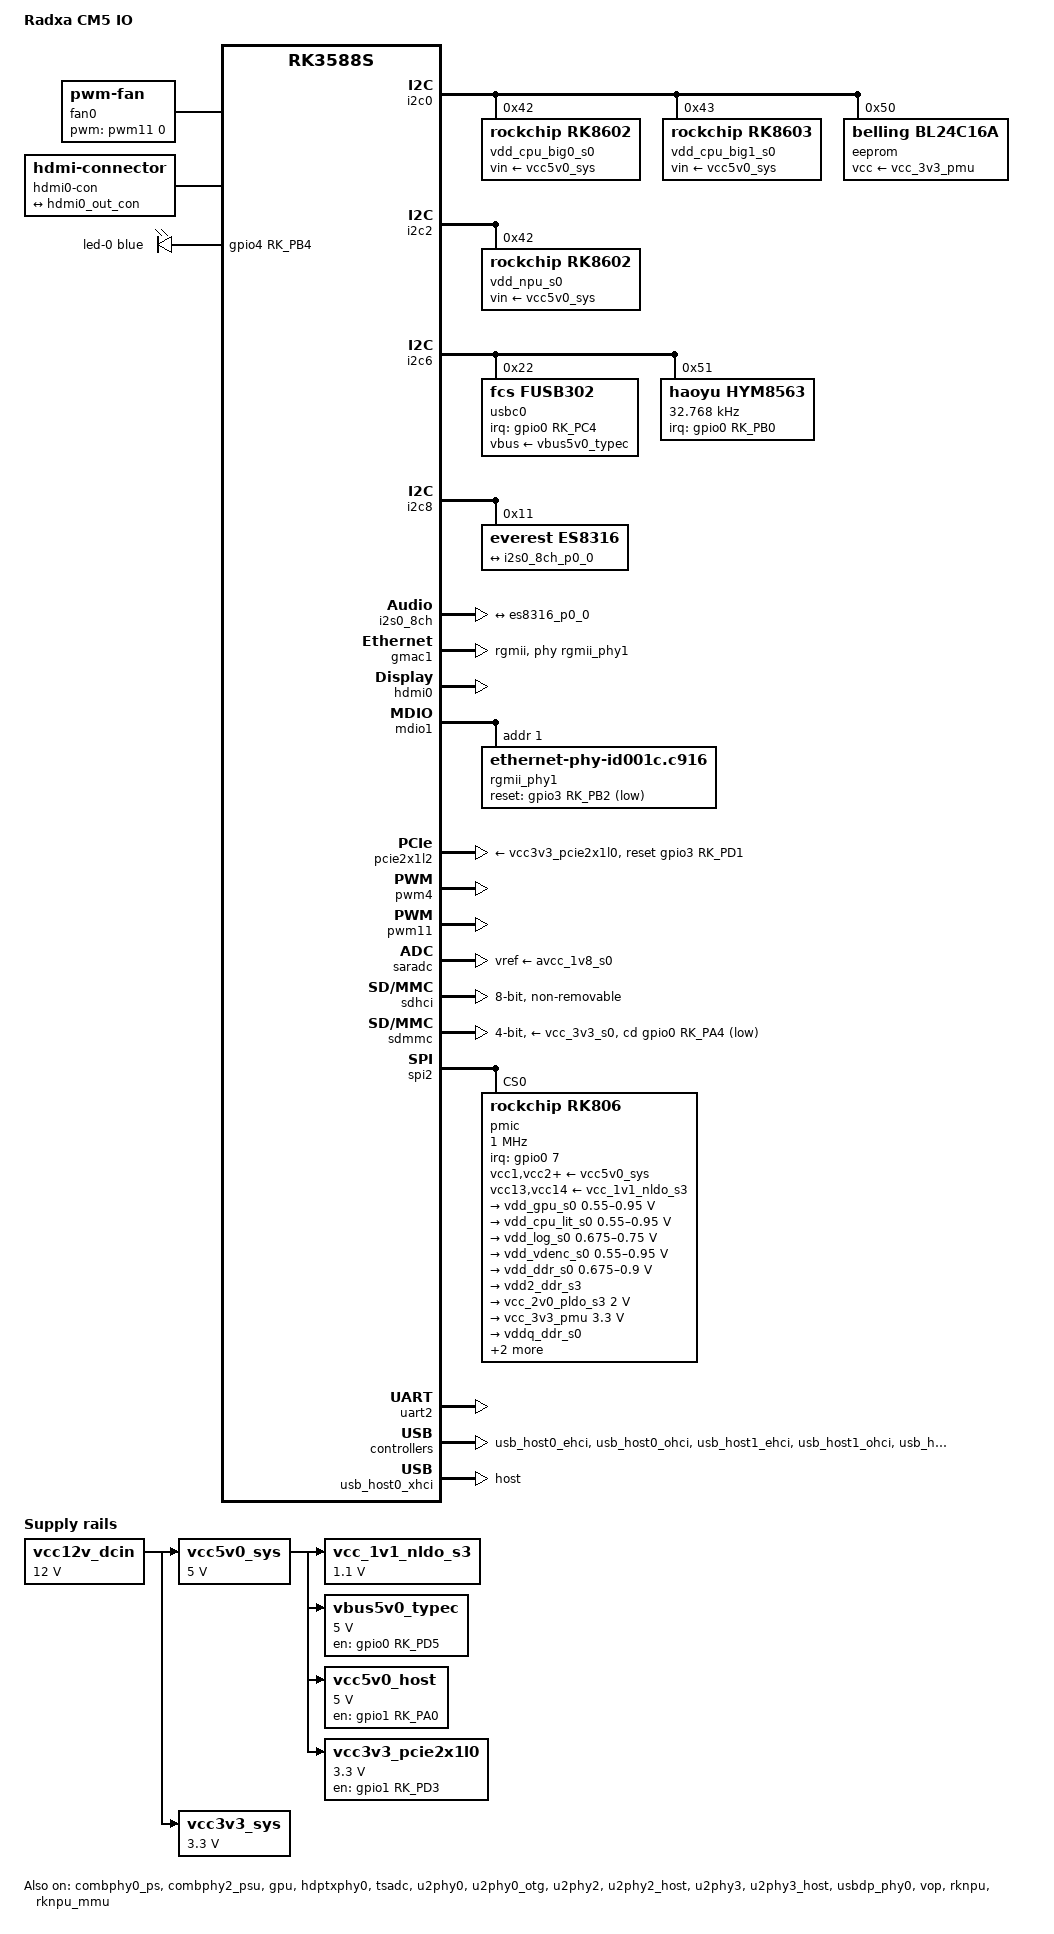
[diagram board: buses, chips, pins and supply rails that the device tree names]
// SPDX-License-Identifier: (GPL-2.0+ OR MIT)
/*
 * Copyright (c) 2024 Rockchip Electronics Co., Ltd.
 * Copyright (c) 2024 Radxa Computer (Shenzhen) Co., Ltd.
 */

/dts-v1/;

#include <dt-bindings/gpio/gpio.h>
#include <dt-bindings/leds/common.h>
#include <dt-bindings/pinctrl/rockchip.h>
#include <dt-bindings/soc/rockchip,vop2.h>
#include <dt-bindings/usb/pd.h>
#include "rk3588s.dtsi"

/ {
	model = "Radxa CM5 IO";
	compatible = "radxa,cm5-io", "radxa,cm5", "rockchip,rk3588s";

	aliases {
		ethernet0 = &gmac1;
		mmc0 = &sdhci;
		mmc1 = &sdmmc;
	};

	chosen {
		stdout-path = "serial2:1500000n8";
	};

	analog-sound {
		compatible = "audio-graph-card";
		label = "rk3588-es8316";

		widgets = "Microphone", "Mic Jack",
			  "Headphone", "Headphones";

		routing = "MIC2", "Mic Jack",
			  "Headphones", "HPOL",
			  "Headphones", "HPOR";

		dais = <&i2s0_8ch_p0>;
	};

	fan0: pwm-fan {
		compatible = "pwm-fan";
		#cooling-cells = <2>;
		cooling-levels = <0 64 128 192 255>;
		pwms = <&pwm11 0 60000 0>;
	};

	hdmi0-con {
		compatible = "hdmi-connector";
		type = "a";

		port {
			hdmi0_con_in: endpoint {
				remote-endpoint = <&hdmi0_out_con>;
			};
		};
	};

	leds {
		compatible = "gpio-leds";
		pinctrl-names = "default";
		pinctrl-0 = <&status_led>;

		led-0 {
			color = <LED_COLOR_ID_BLUE>;
			function = LED_FUNCTION_STATUS;
			gpios = <&gpio4 RK_PB4 GPIO_ACTIVE_HIGH>;
			linux,default-trigger = "heartbeat";
		};
	};

	vcc12v_dcin: regulator-vcc12v-dcin {
		compatible = "regulator-fixed";
		regulator-name = "vcc12v_dcin";
		regulator-always-on;
		regulator-boot-on;
		regulator-min-microvolt = <12000000>;
		regulator-max-microvolt = <12000000>;
	};

	vcc5v0_sys: regulator-vcc5v0-sys {
		compatible = "regulator-fixed";
		regulator-name = "vcc5v0_sys";
		regulator-always-on;
		regulator-boot-on;
		regulator-min-microvolt = <5000000>;
		regulator-max-microvolt = <5000000>;
		vin-supply = <&vcc12v_dcin>;
	};

	vcc3v3_sys: regulator-vcc3v3-sys {
		compatible = "regulator-fixed";
		regulator-name = "vcc3v3_sys";
		regulator-always-on;
		regulator-boot-on;
		regulator-min-microvolt = <3300000>;
		regulator-max-microvolt = <3300000>;
		vin-supply = <&vcc12v_dcin>;
	};

	vcc_1v1_nldo_s3: regulator-vcc-1v1-nldo-s3 {
		compatible = "regulator-fixed";
		regulator-name = "vcc_1v1_nldo_s3";
		regulator-always-on;
		regulator-boot-on;
		regulator-min-microvolt = <1100000>;
		regulator-max-microvolt = <1100000>;
		vin-supply = <&vcc5v0_sys>;
	};

	vbus5v0_typec: regulator-vbus5v0-typec {
		compatible = "regulator-fixed";
		regulator-name = "vbus5v0_typec";
		enable-active-high;
		gpio = <&gpio0 RK_PD5 GPIO_ACTIVE_HIGH>;
		pinctrl-names = "default";
		pinctrl-0 = <&vbus5v0_typec_en>;
		regulator-min-microvolt = <5000000>;
		regulator-max-microvolt = <5000000>;
		vin-supply = <&vcc5v0_sys>;
	};

	vcc5v0_host: regulator-vcc5v0-host {
		compatible = "regulator-fixed";
		regulator-name = "vcc5v0_host";
		regulator-boot-on;
		regulator-always-on;
		regulator-min-microvolt = <5000000>;
		regulator-max-microvolt = <5000000>;
		enable-active-high;
		gpio = <&gpio1 RK_PA0 GPIO_ACTIVE_HIGH>;
		pinctrl-names = "default";
		pinctrl-0 = <&vcc5v0_host_en>;
		vin-supply = <&vcc5v0_sys>;
	};

	vcc3v3_pcie2x1l0: regulator-vcc3v3-pcie2x1l0 {
		compatible = "regulator-fixed";
		regulator-name = "vcc3v3_pcie2x1l0";
		regulator-min-microvolt = <3300000>;
		regulator-max-microvolt = <3300000>;
		enable-active-high;
		regulator-boot-on;
		regulator-always-on;
		gpios = <&gpio1 RK_PD3 GPIO_ACTIVE_HIGH>;
		startup-delay-us = <50000>;
		vin-supply = <&vcc5v0_sys>;
	};

	rknpu: rknpu@fdab0000 {
		compatible = "rockchip,rk3588-rknpu";
		reg = <0x0 0xfdab0000 0x0 0x10000>,
		      <0x0 0xfdac0000 0x0 0x10000>,
		      <0x0 0xfdad0000 0x0 0x10000>;
		interrupts = <GIC_SPI 110 IRQ_TYPE_LEVEL_HIGH 0>,
			     <GIC_SPI 111 IRQ_TYPE_LEVEL_HIGH 0>,
			     <GIC_SPI 112 IRQ_TYPE_LEVEL_HIGH 0>;
		interrupt-names = "npu0_irq", "npu1_irq", "npu2_irq";
		clocks = <&scmi_clk SCMI_CLK_NPU>, <&cru ACLK_NPU0>,
			 <&cru ACLK_NPU1>, <&cru ACLK_NPU2>,
			 <&cru HCLK_NPU0>, <&cru HCLK_NPU1>,
			 <&cru HCLK_NPU2>, <&cru PCLK_NPU_ROOT>;
		clock-names = "clk_npu", "aclk0", "aclk1", "aclk2",
			      "hclk0", "hclk1", "hclk2", "pclk";
		assigned-clocks = <&scmi_clk SCMI_CLK_NPU>;
		assigned-clock-rates = <200000000>;
		resets = <&cru SRST_A_RKNN0>, <&cru SRST_A_RKNN1>,
			 <&cru SRST_A_RKNN2>, <&cru SRST_H_RKNN0>,
			 <&cru SRST_H_RKNN1>, <&cru SRST_H_RKNN2>;
		reset-names = "srst_a0", "srst_a1", "srst_a2",
			      "srst_h0", "srst_h1", "srst_h2";
		power-domains = <&power RK3588_PD_NPUTOP>,
				<&power RK3588_PD_NPU1>,
				<&power RK3588_PD_NPU2>;
		power-domain-names = "npu0", "npu1", "npu2";
		rknpu-supply = <&vdd_npu_s0>;
		iommus = <&rknpu_mmu>;
		status = "okay";
	};

	rknpu_mmu: rknpu-iommu@fdab9000 {
		compatible = "rockchip,rk3588-iommu", "rockchip,rk3568-iommu";
		reg = <0x0 0xfdab9000 0x0 0x100>,
		      <0x0 0xfdaba000 0x0 0x100>,
		      <0x0 0xfdaca000 0x0 0x100>,
		      <0x0 0xfdada000 0x0 0x100>;
		interrupts = <GIC_SPI 110 IRQ_TYPE_LEVEL_HIGH 0>,
			     <GIC_SPI 111 IRQ_TYPE_LEVEL_HIGH 0>,
			     <GIC_SPI 112 IRQ_TYPE_LEVEL_HIGH 0>;
		interrupt-names = "npu0_mmu", "npu1_mmu", "npu2_mmu";
		clocks = <&cru ACLK_NPU0>, <&cru ACLK_NPU1>,
			 <&cru ACLK_NPU2>, <&cru HCLK_NPU0>,
			 <&cru HCLK_NPU1>, <&cru HCLK_NPU2>;
		clock-names = "aclk", "aclk1", "aclk2",
			      "iface", "iface1", "iface2";
		#iommu-cells = <0>;
		power-domains = <&power RK3588_PD_NPUTOP>;
		status = "okay";
	};
};

&combphy0_ps {
	status = "okay";
};

&combphy2_psu {
	status = "okay";
};

&cpu_b0 {
	cpu-supply = <&vdd_cpu_big0_s0>;
};

&cpu_b1 {
	cpu-supply = <&vdd_cpu_big0_s0>;
};

&cpu_b2 {
	cpu-supply = <&vdd_cpu_big1_s0>;
};

&cpu_b3 {
	cpu-supply = <&vdd_cpu_big1_s0>;
};

&cpu_l0 {
	cpu-supply = <&vdd_cpu_lit_s0>;
};

&cpu_l1 {
	cpu-supply = <&vdd_cpu_lit_s0>;
};

&cpu_l2 {
	cpu-supply = <&vdd_cpu_lit_s0>;
};

&cpu_l3 {
	cpu-supply = <&vdd_cpu_lit_s0>;
};

&gpu {
	mali-supply = <&vdd_gpu_s0>;
	status = "okay";
};

&i2c0 {
	pinctrl-names = "default";
	pinctrl-0 = <&i2c0m2_xfer>;
	status = "okay";

	vdd_cpu_big0_s0: regulator@42 {
		compatible = "rockchip,rk8602";
		reg = <0x42>;
		fcs,suspend-voltage-selector = <1>;
		regulator-name = "vdd_cpu_big0_s0";
		regulator-always-on;
		regulator-boot-on;
		regulator-min-microvolt = <550000>;
		regulator-max-microvolt = <1050000>;
		regulator-ramp-delay = <2300>;
		vin-supply = <&vcc5v0_sys>;

		regulator-state-mem {
			regulator-off-in-suspend;
		};
	};

	vdd_cpu_big1_s0: regulator@43 {
		compatible = "rockchip,rk8603", "rockchip,rk8602";
		reg = <0x43>;
		fcs,suspend-voltage-selector = <1>;
		regulator-name = "vdd_cpu_big1_s0";
		regulator-always-on;
		regulator-boot-on;
		regulator-min-microvolt = <550000>;
		regulator-max-microvolt = <1050000>;
		regulator-ramp-delay = <2300>;
		vin-supply = <&vcc5v0_sys>;

		regulator-state-mem {
			regulator-off-in-suspend;
		};
	};

	eeprom: eeprom@50 {
		compatible = "belling,bl24c16a", "atmel,24c16";
		reg = <0x50>;
		pagesize = <16>;
		vcc-supply = <&vcc_3v3_pmu>;
	};
};

&i2c2 {
	status = "okay";

	vdd_npu_s0: regulator@42 {
		compatible = "rockchip,rk8602";
		reg = <0x42>;
		fcs,suspend-voltage-selector = <1>;
		regulator-name = "vdd_npu_s0";
		regulator-always-on;
		regulator-boot-on;
		regulator-min-microvolt = <550000>;
		regulator-max-microvolt = <950000>;
		regulator-ramp-delay = <2300>;
		vin-supply = <&vcc5v0_sys>;

		regulator-state-mem {
			regulator-off-in-suspend;
		};
	};
};

&i2c6 {
	status = "okay";
	pinctrl-names = "default";
	pinctrl-0 = <&i2c6m3_xfer>;

	usbc0: usb-typec@22 {
		compatible = "fcs,fusb302";
		reg = <0x22>;
		interrupt-parent = <&gpio0>;
		interrupts = <RK_PC4 IRQ_TYPE_LEVEL_LOW>;
		pinctrl-names = "default";
		pinctrl-0 = <&usbc0_int>;
		vbus-supply = <&vbus5v0_typec>;
		status = "okay";

		usb_con: connector {
			compatible = "usb-c-connector";
			label = "USB-C";
			data-role = "dual";
			power-role = "dual";
			try-power-role = "sink";
			op-sink-microwatt = <1000000>;

			sink-pdos = <PDO_FIXED(5000, 1000, PDO_FIXED_USB_COMM)>;
			source-pdos = <PDO_FIXED(5000, 3000, PDO_FIXED_USB_COMM)>;
		};
	};

	hym8563: rtc@51 {
		compatible = "haoyu,hym8563";
		reg = <0x51>;
		#clock-cells = <0>;
		clock-frequency = <32768>;
		clock-output-names = "hym8563";
		pinctrl-names = "default";
		pinctrl-0 = <&rtc_int>;
		interrupt-parent = <&gpio0>;
		interrupts = <RK_PB0 IRQ_TYPE_LEVEL_LOW>;
	};
};

&i2c8 {
	status = "okay";
	pinctrl-0 = <&i2c8m2_xfer>;

	es8316: audio-codec@11 {
		compatible = "everest,es8316";
		reg = <0x11>;
		clocks = <&cru I2S0_8CH_MCLKOUT>;
		clock-names = "mclk";
		assigned-clocks = <&cru I2S0_8CH_MCLKOUT>;
		assigned-clock-rates = <12288000>;
		#sound-dai-cells = <0>;

		port {
			es8316_p0_0: endpoint {
				remote-endpoint = <&i2s0_8ch_p0_0>;
			};
		};
	};
};

&i2s0_8ch {
	pinctrl-names = "default";
	pinctrl-0 = <&i2s0_lrck
		     &i2s0_mclk
		     &i2s0_sclk
		     &i2s0_sdi0
		     &i2s0_sdo0>;
	status = "okay";

	i2s0_8ch_p0: port {
		i2s0_8ch_p0_0: endpoint {
			dai-format = "i2s";
			mclk-fs = <256>;
			remote-endpoint = <&es8316_p0_0>;
		};
	};
};

&gmac1 {
	clock_in_out = "output";
	phy-handle = <&rgmii_phy1>;
	phy-mode = "rgmii";
	pinctrl-0 = <&gmac1_miim
		     &gmac1_tx_bus2
		     &gmac1_rx_bus2
		     &gmac1_rgmii_clk
		     &gmac1_rgmii_bus>;
	pinctrl-names = "default";
	tx_delay = <0x41>;
	rx_delay = <0x3a>;
	status = "okay";
};

&hdmi0 {
	pinctrl-names = "default";
	pinctrl-0 = <&hdmim0_tx0_cec
		     &hdmim1_tx0_hpd
		     &hdmim0_tx0_scl
		     &hdmim0_tx0_sda>;
	status = "okay";
};

&hdmi0_in {
	hdmi0_in_vp0: endpoint {
		remote-endpoint = <&vp0_out_hdmi0>;
	};
};

&hdmi0_out {
	hdmi0_out_con: endpoint {
		remote-endpoint = <&hdmi0_con_in>;
	};
};

&hdptxphy0 {
	status = "okay";
};

&mdio1 {
	rgmii_phy1: ethernet-phy@1 {
		compatible = "ethernet-phy-id001c.c916";
		reg = <0x1>;
		pinctrl-names = "default";
		pinctrl-0 = <&rtl8211f_rst>;
		reset-assert-us = <20000>;
		reset-deassert-us = <100000>;
		reset-gpios = <&gpio3 RK_PB2 GPIO_ACTIVE_LOW>;
	};
};

&pcie2x1l2 {
	reset-gpios = <&gpio3 RK_PD1 GPIO_ACTIVE_HIGH>;
	vpcie3v3-supply = <&vcc3v3_pcie2x1l0>;
	status = "okay";
};

&pd_gpu {
	domain-supply = <&vdd_gpu_s0>;
};

&pinctrl {
	headphone {
		hp_det: hp-det {
			rockchip,pins = <1 RK_PC0 RK_FUNC_GPIO &pcfg_pull_up>;
		};
	};

	leds {
		status_led: status-led {
			rockchip,pins = <4 RK_PB4 RK_FUNC_GPIO &pcfg_pull_none>;
		};
	};

	pcie {
		pcie2_reset: pcie2-reset {
			rockchip,pins = <3 RK_PD1 RK_FUNC_GPIO &pcfg_pull_none>;
		};
	};

	fusb302 {
		vbus5v0_typec_en: vbus5v0-typec-en {
			rockchip,pins = <0 RK_PD5 RK_FUNC_GPIO &pcfg_pull_none>;
		};

		usbc0_int: usbc0-int {
			rockchip,pins = <0 RK_PC4 RK_FUNC_GPIO &pcfg_pull_up>;
		};
	};

	hym8563 {
		rtc_int: rtc-int {
			rockchip,pins = <0 RK_PB0 RK_FUNC_GPIO &pcfg_pull_up>;
		};
	};

	rtl8211f {
		rtl8211f_rst: rtl8211f-rst {
			rockchip,pins = <3 RK_PB2 RK_FUNC_GPIO &pcfg_pull_none>;
		};
	};

	usb {
		vcc5v0_host_en: vcc5v0-host-en {
			rockchip,pins = <1 RK_PA0 RK_FUNC_GPIO &pcfg_pull_none>;
		};
	};
};

&pwm4 {
	pinctrl-0 = <&pwm4m0_pins>;
	status = "okay";
};

&pwm11 {
	pinctrl-0 = <&pwm11m3_pins>;
	status = "okay";
};

&saradc {
	vref-supply = <&avcc_1v8_s0>;
	status = "okay";
};

&sdhci {
	bus-width = <8>;
	no-sdio;
	no-sd;
	non-removable;
	mmc-hs400-1_8v;
	mmc-hs400-enhanced-strobe;
	status = "okay";
};

&sdmmc {
	bus-width = <4>;
	cap-mmc-highspeed;
	cap-sd-highspeed;
	cd-gpios = <&gpio0 RK_PA4 GPIO_ACTIVE_LOW>;
	disable-wp;
	max-frequency = <150000000>;
	no-sdio;
	no-mmc;
	sd-uhs-sdr104;
	vmmc-supply = <&vcc_3v3_s0>;
	vqmmc-supply = <&vccio_sd_s0>;
	status = "okay";
};

&spi2 {
	status = "okay";
	assigned-clocks = <&cru CLK_SPI2>;
	assigned-clock-rates = <200000000>;
	num-cs = <1>;
	pinctrl-names = "default";
	pinctrl-0 = <&spi2m2_cs0 &spi2m2_pins>;

	pmic@0 {
		compatible = "rockchip,rk806";
		reg = <0x0>;
		interrupt-parent = <&gpio0>;
		interrupts = <7 IRQ_TYPE_LEVEL_LOW>;
		pinctrl-names = "default";
		pinctrl-0 = <&pmic_pins>, <&rk806_dvs1_null>,
			    <&rk806_dvs2_null>, <&rk806_dvs3_null>;
		spi-max-frequency = <1000000>;
		system-power-controller;

		vcc1-supply = <&vcc5v0_sys>;
		vcc2-supply = <&vcc5v0_sys>;
		vcc3-supply = <&vcc5v0_sys>;
		vcc4-supply = <&vcc5v0_sys>;
		vcc5-supply = <&vcc5v0_sys>;
		vcc6-supply = <&vcc5v0_sys>;
		vcc7-supply = <&vcc5v0_sys>;
		vcc8-supply = <&vcc5v0_sys>;
		vcc9-supply = <&vcc5v0_sys>;
		vcc10-supply = <&vcc5v0_sys>;
		vcc11-supply = <&vcc5v0_sys>;
		vcc12-supply = <&vcc5v0_sys>;
		vcc13-supply = <&vcc_1v1_nldo_s3>;
		vcc14-supply = <&vcc_1v1_nldo_s3>;
		vcca-supply = <&vcc5v0_sys>;

		gpio-controller;
		#gpio-cells = <2>;

		rk806_dvs1_null: dvs1-null-pins {
			pins = "gpio_pwrctrl1";
			function = "pin_fun0";
		};

		rk806_dvs2_null: dvs2-null-pins {
			pins = "gpio_pwrctrl2";
			function = "pin_fun0";
		};

		rk806_dvs3_null: dvs3-null-pins {
			pins = "gpio_pwrctrl3";
			function = "pin_fun0";
		};

		regulators {
			vdd_gpu_s0: vdd_gpu_mem_s0: dcdc-reg1 {
				regulator-name = "vdd_gpu_s0";
				regulator-boot-on;
				regulator-min-microvolt = <550000>;
				regulator-max-microvolt = <950000>;
				regulator-ramp-delay = <12500>;
				regulator-enable-ramp-delay = <400>;

				regulator-state-mem {
					regulator-off-in-suspend;
				};
			};

			vdd_cpu_lit_s0: vdd_cpu_lit_mem_s0: dcdc-reg2 {
				regulator-name = "vdd_cpu_lit_s0";
				regulator-always-on;
				regulator-boot-on;
				regulator-min-microvolt = <550000>;
				regulator-max-microvolt = <950000>;
				regulator-ramp-delay = <12500>;

				regulator-state-mem {
					regulator-off-in-suspend;
				};
			};

			vdd_log_s0: dcdc-reg3 {
				regulator-name = "vdd_log_s0";
				regulator-always-on;
				regulator-boot-on;
				regulator-min-microvolt = <675000>;
				regulator-max-microvolt = <750000>;
				regulator-ramp-delay = <12500>;

				regulator-state-mem {
					regulator-off-in-suspend;
					regulator-suspend-microvolt = <750000>;
				};
			};

			vdd_vdenc_s0: vdd_vdenc_mem_s0: dcdc-reg4 {
				regulator-name = "vdd_vdenc_s0";
				regulator-always-on;
				regulator-boot-on;
				regulator-min-microvolt = <550000>;
				regulator-max-microvolt = <950000>;
				regulator-ramp-delay = <12500>;

				regulator-state-mem {
					regulator-off-in-suspend;
				};
			};

			vdd_ddr_s0: dcdc-reg5 {
				regulator-name = "vdd_ddr_s0";
				regulator-always-on;
				regulator-boot-on;
				regulator-min-microvolt = <675000>;
				regulator-max-microvolt = <900000>;
				regulator-ramp-delay = <12500>;

				regulator-state-mem {
					regulator-off-in-suspend;
					regulator-suspend-microvolt = <850000>;
				};
			};

			vdd2_ddr_s3: dcdc-reg6 {
				regulator-name = "vdd2_ddr_s3";
				regulator-always-on;
				regulator-boot-on;

				regulator-state-mem {
					regulator-on-in-suspend;
				};
			};

			vcc_2v0_pldo_s3: dcdc-reg7 {
				regulator-name = "vdd_2v0_pldo_s3";
				regulator-always-on;
				regulator-boot-on;
				regulator-min-microvolt = <2000000>;
				regulator-max-microvolt = <2000000>;
				regulator-ramp-delay = <12500>;

				regulator-state-mem {
					regulator-on-in-suspend;
					regulator-suspend-microvolt = <2000000>;
				};
			};

			vcc_3v3_pmu: vcc_3v3_s3: dcdc-reg8 {
				regulator-name = "vcc_3v3_s3";
				regulator-always-on;
				regulator-boot-on;
				regulator-min-microvolt = <3300000>;
				regulator-max-microvolt = <3300000>;

				regulator-state-mem {
					regulator-on-in-suspend;
					regulator-suspend-microvolt = <3300000>;
				};
			};

			vddq_ddr_s0: dcdc-reg9 {
				regulator-name = "vddq_ddr_s0";
				regulator-always-on;
				regulator-boot-on;

				regulator-state-mem {
					regulator-off-in-suspend;
				};
			};

			vcc_1v8_s3: dcdc-reg10 {
				regulator-name = "vcc_1v8_s3";
				regulator-always-on;
				regulator-boot-on;
				regulator-min-microvolt = <1800000>;
				regulator-max-microvolt = <1800000>;

				regulator-state-mem {
					regulator-on-in-suspend;
					regulator-suspend-microvolt = <1800000>;
				};
			};

			avcc_1v8_s0: pldo-reg1 {
				regulator-name = "avcc_1v8_s0";
				regulator-always-on;
				regulator-boot-on;
				regulator-min-microvolt = <1800000>;
				regulator-max-microvolt = <1800000>;

				regulator-state-mem {
					regulator-off-in-suspend;
				};
			};

			vcc_1v8_s0: pldo-reg2 {
				regulator-name = "vcc_1v8_s0";
				regulator-always-on;
				regulator-boot-on;
				regulator-min-microvolt = <1800000>;
				regulator-max-microvolt = <1800000>;

				regulator-state-mem {
					regulator-off-in-suspend;
					regulator-suspend-microvolt = <1800000>;
				};
			};

			avdd_1v2_s0: pldo-reg3 {
				regulator-name = "avdd_1v2_s0";
				regulator-always-on;
				regulator-boot-on;
				regulator-min-microvolt = <1200000>;
				regulator-max-microvolt = <1200000>;

				regulator-state-mem {
					regulator-off-in-suspend;
				};
			};

			vcc_3v3_s0: pldo-reg4 {
				regulator-name = "vcc_3v3_s0";
				regulator-always-on;
				regulator-boot-on;
				regulator-min-microvolt = <3300000>;
				regulator-max-microvolt = <3300000>;
				regulator-ramp-delay = <12500>;

				regulator-state-mem {
					regulator-off-in-suspend;
				};
			};

			vccio_sd_s0: pldo-reg5 {
				regulator-name = "vccio_sd_s0";
				regulator-always-on;
				regulator-boot-on;
				regulator-min-microvolt = <1800000>;
				regulator-max-microvolt = <3300000>;
				regulator-ramp-delay = <12500>;

				regulator-state-mem {
					regulator-off-in-suspend;
				};
			};

			pldo6_s3: pldo-reg6 {
				regulator-name = "pldo6_s3";
				regulator-always-on;
				regulator-boot-on;
				regulator-min-microvolt = <1800000>;
				regulator-max-microvolt = <1800000>;

				regulator-state-mem {
					regulator-on-in-suspend;
					regulator-suspend-microvolt = <1800000>;
				};
			};

			vdd_0v75_s3: nldo-reg1 {
				regulator-name = "vdd_0v75_s3";
				regulator-always-on;
				regulator-boot-on;
				regulator-min-microvolt = <750000>;
				regulator-max-microvolt = <750000>;

				regulator-state-mem {
					regulator-on-in-suspend;
					regulator-suspend-microvolt = <750000>;
				};
			};

			vdd_ddr_pll_s0: nldo-reg2 {
				regulator-name = "vdd_ddr_pll_s0";
				regulator-always-on;
				regulator-boot-on;
				regulator-min-microvolt = <850000>;
				regulator-max-microvolt = <850000>;

				regulator-state-mem {
					regulator-off-in-suspend;
					regulator-suspend-microvolt = <850000>;
				};
			};

			avdd_0v75_s0: nldo-reg3 {
				regulator-name = "avdd_0v75_s0";
				regulator-always-on;
				regulator-boot-on;
				regulator-min-microvolt = <750000>;
				regulator-max-microvolt = <750000>;

				regulator-state-mem {
					regulator-off-in-suspend;
				};
			};

			vdd_0v85_s0: nldo-reg4 {
				regulator-name = "vdd_0v85_s0";
				regulator-always-on;
				regulator-boot-on;
				regulator-min-microvolt = <850000>;
				regulator-max-microvolt = <850000>;

				regulator-state-mem {
					regulator-off-in-suspend;
				};
			};

			vdd_0v75_s0: nldo-reg5 {
				regulator-name = "vdd_0v75_s0";
				regulator-always-on;
				regulator-boot-on;
				regulator-min-microvolt = <750000>;
				regulator-max-microvolt = <750000>;

				regulator-state-mem {
					regulator-off-in-suspend;
				};
			};
		};
	};
};

&tsadc {
	status = "okay";
};

&u2phy0 {
	status = "okay";
};

&u2phy0_otg {
	status = "okay";
};

&u2phy2 {
	status = "okay";
};

&u2phy2_host {
	phy-supply = <&vcc5v0_host>;
	status = "okay";
};

&u2phy3 {
	status = "okay";
};

&u2phy3_host {
	phy-supply = <&vcc5v0_host>;
	status = "okay";
};

&uart2 {
	pinctrl-0 = <&uart2m0_xfer>;
	status = "okay";
};

&usbdp_phy0 {
	status = "okay";
};

&usb_host0_ehci {
	status = "okay";
};

&usb_host0_ohci {
	status = "okay";
};

&usb_host0_xhci {
	dr_mode = "host";
	status = "okay";
};

&usb_host1_ehci {
	status = "okay";
};

&usb_host1_ohci {
	status = "okay";
};

&usb_host2_xhci {
	status = "okay";
};

&vop {
	status = "okay";
};

&vop_mmu {
	status = "okay";
};

&vp0 {
	vp0_out_hdmi0: endpoint@ROCKCHIP_VOP2_EP_HDMI0 {
		reg = <ROCKCHIP_VOP2_EP_HDMI0>;
		remote-endpoint = <&hdmi0_in_vp0>;
	};
};

&rknpu {
	status = "okay";
};

&rknpu_mmu {
	status = "okay";
};
